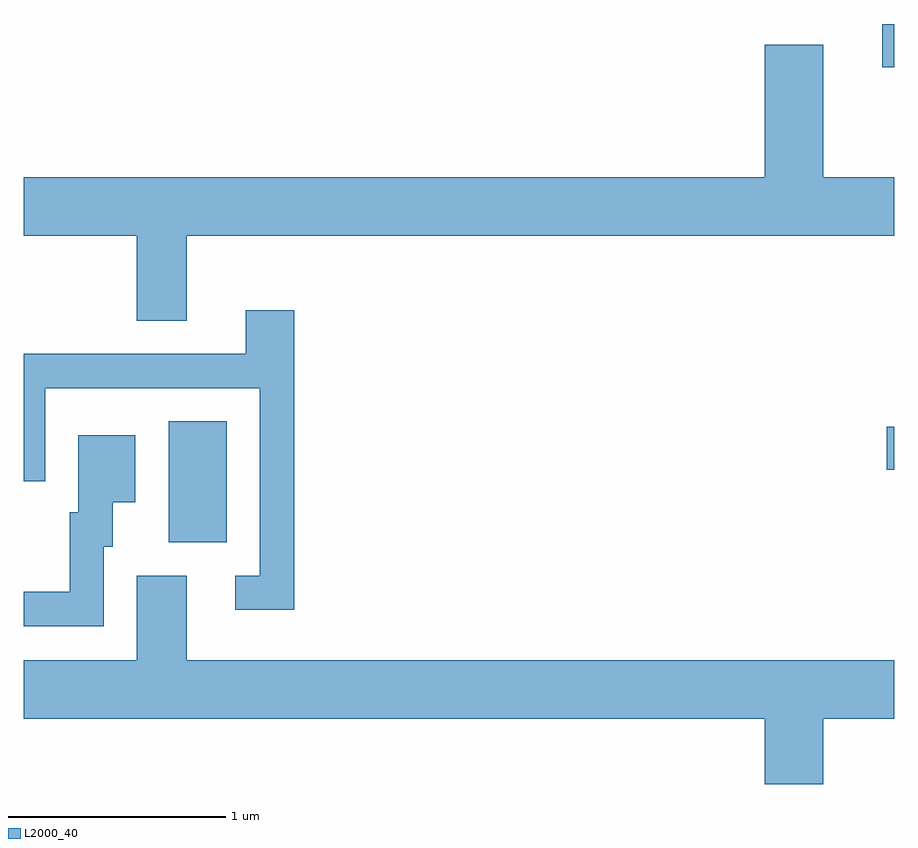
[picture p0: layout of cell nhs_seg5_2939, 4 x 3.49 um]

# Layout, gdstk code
import gdstk
lib = gdstk.Library(unit=1e-6, precision=1e-09)
def R(c, l, rs):  # rectangles x0, y0, x1, y1
    for r in rs: c.add(gdstk.rectangle(r[:2], r[2:], *l))
def P(c, l, *ps):  # polygons
    for p in ps: c.add(gdstk.Polygon(p, *l))
L2000_40 = (2000, 40)

nhs_seg5_2939 = lib.new_cell('nhs_seg5_2939')
R(nhs_seg5_2939, L2000_40, [(272.276,1517.546,272.544,1518.104), (275.576,1517.881,275.611,1518.079), (275.556,1519.731,275.611,1519.929)])
P(nhs_seg5_2939, L2000_40, [(272.359,1518.956),(275.611,1518.956),(275.611,1519.224),(275.284,1519.224),(275.284,1519.834),(275.016,1519.834),(275.016,1519.224),(271.611,1519.224),(271.611,1518.956),(272.131,1518.956),(272.131,1518.566),(272.359,1518.566)],
  [(272.854,1518.614),(272.631,1518.614),(272.631,1518.414),(271.611,1518.414),(271.611,1517.828),(271.709,1517.828),(271.709,1518.256),(272.696,1518.256),(272.696,1517.394),(272.583,1517.394),(272.583,1517.236),(272.854,1517.236)],
  [(271.979,1517.526),(272.019,1517.526),(272.019,1517.731),(272.124,1517.731),(272.124,1518.039),(271.861,1518.039),(271.861,1517.684),(271.821,1517.684),(271.821,1517.319),(271.611,1517.319),(271.611,1517.161),(271.979,1517.161)],
  [(275.284,1516.736),(275.611,1516.736),(275.611,1517.004),(272.359,1517.004),(272.359,1517.394),(272.131,1517.394),(272.131,1517.004),(271.611,1517.004),(271.611,1516.736),(275.016,1516.736),(275.016,1516.436),(275.284,1516.436)])

lib.write_gds('nhs_seg5_2939.gds')
